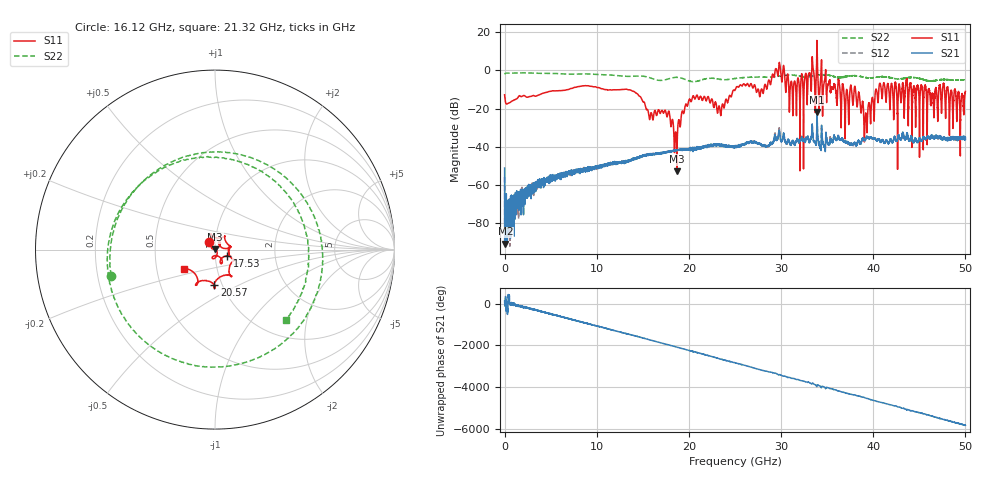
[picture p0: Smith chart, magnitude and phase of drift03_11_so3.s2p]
!Created with skrf (http://scikit-rf.org).
# Hz S RI R 50.0
!freq ReS11 ImS11 ReS21 ImS21 ReS12 ImS12 ReS22 ImS22
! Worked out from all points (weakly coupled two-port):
!   10001 points, 300 kHz to 50 GHz, reference 50 ohm
!   highest |S21| = -21.77 dB at 33.9 GHz (marker M1); lowest = -90.6 dB at 95.3 MHz (marker M2)
!   lowest |S11| = -52.7 dB at 18.7 GHz (marker M3), VSWR 1.00, Z = 50 + j0.231 ohm
!   |S11| at or under -10 dB: start of sweep to 6.948 GHz; 13.31 GHz to 25.05 GHz (11.74 GHz wide, 61.2 % of centre); 38.07 GHz to 40.27 GHz (2.199 GHz wide, 5.61 % of centre) (the widest 3 of 62)
!   |S22| runs from -5.9 to -1.3 dB; largest |S21 - S12| = 0.0069
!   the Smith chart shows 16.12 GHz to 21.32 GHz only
!   S11 on the Smith chart (normalised r, x): 16.12 GHz: 0.94, +0.08; 17.53 GHz: 1.14, -0.08; 20.57 GHz: 0.92, -0.38; 21.32 GHz: 0.69, -0.15
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300000  -0.2083 -0.0962  -0.00156 0.00232  -0.000646 0.00149  -0.7629 -0.1805
9.529943e7  -0.1342 0.0607  -2.2e-05 -1.97e-05  1.36e-05 0.000218  -0.8285 0.1426
1.530291e9  0.2029 0.0453  -1.65e-06 -0.00022  -9.41e-05 -0.000381  0.8485 0.0846
3.160281e9  -0.2186 -0.00841  6.1e-05 0.000716  3.74e-05 0.00106  -0.8443 -0.0242
4.665272e9  0.2635 0.0605  -3.06e-05 -0.00131  -0.000258 -0.00143  0.818 0.1408
6.355262e9  -0.3 -0.00217  0.000402 0.00187  0.000412 0.0016  -0.8039 -0.0478
8.33525e9  0.2838 -0.2681  -0.00226 -0.000973  -0.00216 -0.00107  0.5997 -0.5366
1.043024e10  -0.0416 0.332  0.00249 -0.0018  0.00256 -0.00188  -0.0352 0.77
1.201523e10  0.00639 -0.308  -0.00283 0.00248  -0.00275 0.00255  0.1032 -0.7292
1.61152e10  -0.0314 0.0411  0.00618 0.00215  0.00613 0.00215  -0.5784 -0.145
1.66702e10  0.0543 0.076  0.00475 -0.0049  0.00448 -0.00462  -0.3529 0.4211
1.752519e10  0.0674 -0.035  -0.00629 -0.00399  -0.00585 -0.0038  0.4948 0.2874
1.869519e10  0.000141 0.0023  0.00237 0.00783  0.00243 0.00791  -0.0896 -0.6492
2.056518e10  -0.00306 -0.1959  -0.00765 -0.00425  -0.00763 -0.00435  0.3706 0.3442
2.132017e10  -0.171 -0.107  -0.00459 0.00814  -0.00482 0.0084  0.3942 -0.3939
2.500015e10  -0.2981 -0.0465  0.00788 0.00674  0.00755 0.00608  -0.1901 -0.583
3.050512e10  0.2504 -0.0862  -0.00271 0.0127  -0.00245 0.0127  0.7402 -0.0623
3.213011e10  0.2105 0.3687  -0.000669 -0.0145  -0.00101 -0.0152  -0.6961 0.0248
3.33351e10  0.4169 -0.9644  -0.00513 0.025  -0.00557 0.024  0.6153 0.3624
3.38951e10  -0.9028 -5.952  0.0812 0.007  0.0794 0.00376  0.6837 -0.3268
4.167005e10  -0.2078 0.2849  -0.0117 -0.00462  -0.0115 -0.00488  -0.6521 -0.0456
5e10  -0.1599 -0.2311  0.00111 -0.0156  0.00132 -0.0169  0.4625 -0.3241
